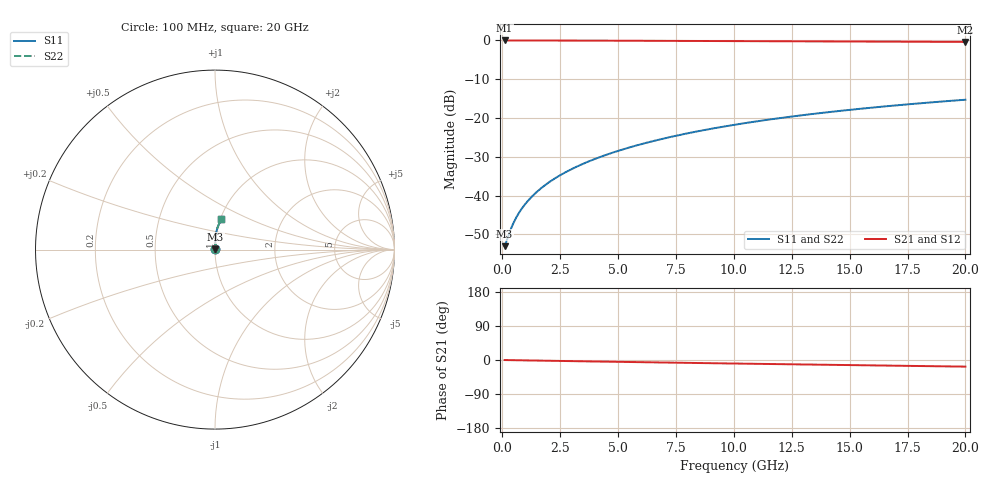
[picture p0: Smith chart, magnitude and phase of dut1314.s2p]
! Touchstone file exported from HFSS 2024.1.0
!  File:  C:/UserFiles/LocalFiles/RDL_TSV_Batchsim/temp_RDL_top_1314_1780364789.aedt
!  Generated:  09:49:01 AM Jun  2, 2026
!  Design:  RDL_top
!  Project:  temp_RDL_top_1314_1780364789
!  Setup:  Setup1
!  Solution:  Sweep
! Variables:
!  dtsv = 10.80580581um
!  hbump = 3um
!  htsv = 50.92um
!  ldown = 100um
!  lrdl = 241.71um
!  p = 40
!  p1 = 40.16um
!  rhole = 1um
!  t = 450um
!  tdown = 3.915915916um
!  trdl = 2.24um
!  wdown = 15.38538539um
!  wrdl = 22.48um
# GHz S MA R 50.000000
! Terminal data exported
! Port[1] = Box2_T1
! Port[2] = Box2_T2
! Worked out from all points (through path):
!   200 points, 100 MHz to 20 GHz, reference 50 ohm
!   highest |S21| = -0.02 dB at 100 MHz (marker M1); lowest = -0.4 dB at 20 GHz (marker M2)
!   group delay of S21, straight-line fit = 2.4 ps
!   lowest |S11| = -53.0 dB at 100 MHz (marker M3), VSWR 1.00, Z = 50.2 + j0.0831 ohm
!   |S11| at or under -10 dB: start of sweep to end of sweep
!   |S22| runs from -53.0 to -15.3 dB; largest |S21 - S12| = 4.1e-15
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0.1  0.002234 21.8  0.9979 -0.1  0.9979 -0.1  0.002234 21.8
! Gamma 0 0 0 0
! Port Impedance 50 0 50 0
0.4  0.003904 54.6  0.9977 -0.4  0.9977 -0.4  0.003904 54.6
0.5  0.004556 59.2  0.9976 -0.5  0.9976 -0.5  0.004556 59.2
0.6  0.005212 62.7  0.9975 -0.6  0.9975 -0.6  0.005212 62.7
0.7  0.005869 65.5  0.9974 -0.7  0.9974 -0.7  0.005869 65.5
0.9  0.007189 69.7  0.9972 -0.9  0.9972 -0.9  0.007189 69.7
1.2  0.009194 74.2  0.9969 -1.2  0.9969 -1.2  0.009194 74.2
1.4  0.01055 76.3  0.9967 -1.4  0.9967 -1.4  0.01055 76.3
1.7  0.01262 78.8  0.9964 -1.7  0.9964 -1.7  0.01262 78.8
2.2  0.01616 81.8  0.9958 -2.2  0.9958 -2.2  0.01616 81.8
2.8  0.02054 84.2  0.995 -2.8  0.995 -2.8  0.02054 84.2
3.5  0.02581 86.0  0.9939 -3.5  0.9939 -3.5  0.02581 86.0
4.2  0.03126 87.2  0.9926 -4.1  0.9926 -4.1  0.03126 87.2
5  0.0377 88.0  0.9909 -4.9  0.9909 -4.9  0.0377 88.0
5.9  0.04519 88.5  0.9889 -5.7  0.9889 -5.7  0.04519 88.5
6.8  0.05291 88.6  0.9868 -6.5  0.9868 -6.5  0.05291 88.6
8.4  0.06706 88.2  0.983 -7.9  0.983 -7.9  0.06706 88.2
10.1  0.08247 87.2  0.9789 -9.4  0.9789 -9.4  0.08248 87.2
11.7  0.09714 85.9  0.975 -10.7  0.975 -10.7  0.09715 85.9
13.4  0.1127 84.4  0.971 -12.2  0.971 -12.2  0.1128 84.4
16.7  0.1428 81.3  0.9632 -14.8  0.9632 -14.8  0.1428 81.3
20  0.172 78.2  0.9555 -17.5  0.9555 -17.5  0.1721 78.2
